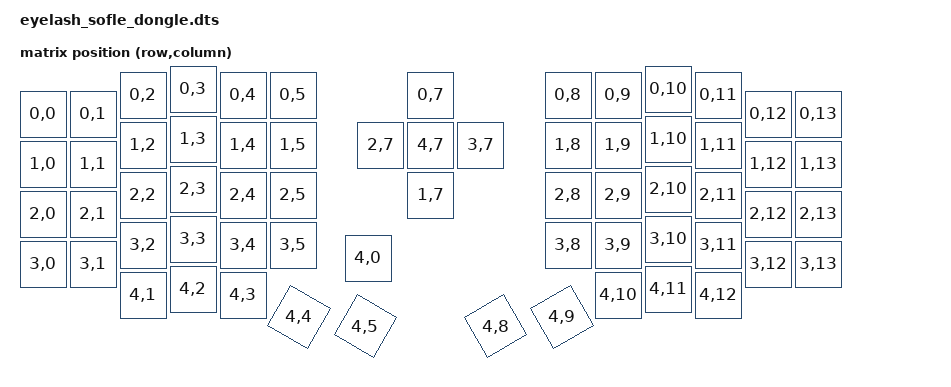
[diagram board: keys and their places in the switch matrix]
/*
*
* Copyright (c) 2021 Darryl deHaan
* SPDX-License-Identifier: MIT
*
*/

#include "eyelash_sofle.dtsi"

/{
    chosen {
        zmk,kscan = &mock_kscan;
    };
    mock_kscan: kscan_0 {
        compatible = "zmk,kscan-mock";
        columns = <0>;
        rows = <0>;
        events = <0>;
    };
default_transform: keymap_transform_0 {
        compatible = "zmk,matrix-transform";
        columns = <14>;
        rows = <5>;
        map = <
            RC(0,0) RC(0,1) RC(0,2) RC(0,3) RC(0,4) RC(0,5)  RC(0,7) RC(0,8) RC(0,9) RC(0,10) RC(0,11) RC(0,12) RC(0,13)
            RC(1,0) RC(1,1) RC(1,2) RC(1,3) RC(1,4) RC(1,5)  RC(1,7) RC(1,8) RC(1,9) RC(1,10) RC(1,11) RC(1,12) RC(1,13)
            RC(2,0) RC(2,1) RC(2,2) RC(2,3) RC(2,4) RC(2,5)  RC(2,7) RC(2,8) RC(2,9) RC(2,10) RC(2,11) RC(2,12) RC(2,13)
            RC(3,0) RC(3,1) RC(3,2) RC(3,3) RC(3,4) RC(3,5)  RC(3,7) RC(3,8) RC(3,9) RC(3,10) RC(3,11) RC(3,12) RC(3,13)
            RC(4,0) RC(4,1) RC(4,2) RC(4,3) RC(4,4) RC(4,5)  RC(4,7) RC(4,8) RC(4,9) RC(4,10) RC(4,11) RC(4,12)
        >;
    };
};

/ {
    chosen {
        zmk,kscan = &mock_kscan;
        zmk,physical-layout = &eyelash_sofle_layout;
    };

        eyelash_sofle_layout: eyelash_sofle_layout {
        compatible = "zmk,physical-layout";
        display-name = "Layout";
        transform = <&default_transform>;
        keys  //                     w   h    x    y     rot    rx    ry
            = <&key_physical_attrs 100 100    0   50       0     0     0>
            , <&key_physical_attrs 100 100  100   50       0     0     0>
            , <&key_physical_attrs 100 100  200   12       0     0     0>
            , <&key_physical_attrs 100 100  300    0       0     0     0>
            , <&key_physical_attrs 100 100  400   12       0     0     0>
            , <&key_physical_attrs 100 100  500   12       0     0     0>
            , <&key_physical_attrs 100 100  775   12       0     0     0>
            , <&key_physical_attrs 100 100 1050   12       0     0     0>
            , <&key_physical_attrs 100 100 1150   12       0     0     0>
            , <&key_physical_attrs 100 100 1250    0       0     0     0>
            , <&key_physical_attrs 100 100 1350   12       0     0     0>
            , <&key_physical_attrs 100 100 1450   50       0     0     0>
            , <&key_physical_attrs 100 100 1550   50       0     0     0>
            , <&key_physical_attrs 100 100    0  150       0     0     0>
            , <&key_physical_attrs 100 100  100  150       0     0     0>
            , <&key_physical_attrs 100 100  200  112       0     0     0>
            , <&key_physical_attrs 100 100  300  100       0     0     0>
            , <&key_physical_attrs 100 100  400  112       0     0     0>
            , <&key_physical_attrs 100 100  500  112       0     0     0>
            , <&key_physical_attrs 100 100  775  212       0     0     0>
            , <&key_physical_attrs 100 100 1050  112       0     0     0>
            , <&key_physical_attrs 100 100 1150  112       0     0     0>
            , <&key_physical_attrs 100 100 1250  100       0     0     0>
            , <&key_physical_attrs 100 100 1350  112       0     0     0>
            , <&key_physical_attrs 100 100 1450  150       0     0     0>
            , <&key_physical_attrs 100 100 1550  150       0     0     0>
            , <&key_physical_attrs 100 100    0  250       0     0     0>
            , <&key_physical_attrs 100 100  100  250       0     0     0>
            , <&key_physical_attrs 100 100  200  212       0     0     0>
            , <&key_physical_attrs 100 100  300  200       0     0     0>
            , <&key_physical_attrs 100 100  400  212       0     0     0>
            , <&key_physical_attrs 100 100  500  212       0     0     0>
            , <&key_physical_attrs 100 100  675  112       0     0     0>
            , <&key_physical_attrs 100 100 1050  212       0     0     0>
            , <&key_physical_attrs 100 100 1150  212       0     0     0>
            , <&key_physical_attrs 100 100 1250  200       0     0     0>
            , <&key_physical_attrs 100 100 1350  212       0     0     0>
            , <&key_physical_attrs 100 100 1450  250       0     0     0>
            , <&key_physical_attrs 100 100 1550  250       0     0     0>
            , <&key_physical_attrs 100 100    0  350       0     0     0>
            , <&key_physical_attrs 100 100  100  350       0     0     0>
            , <&key_physical_attrs 100 100  200  312       0     0     0>
            , <&key_physical_attrs 100 100  300  300       0     0     0>
            , <&key_physical_attrs 100 100  400  312       0     0     0>
            , <&key_physical_attrs 100 100  500  312       0     0     0>
            , <&key_physical_attrs 100 100  875  112       0     0     0>
            , <&key_physical_attrs 100 100 1050  312       0     0     0>
            , <&key_physical_attrs 100 100 1150  312       0     0     0>
            , <&key_physical_attrs 100 100 1250  300       0     0     0>
            , <&key_physical_attrs 100 100 1350  312       0     0     0>
            , <&key_physical_attrs 100 100 1450  350       0     0     0>
            , <&key_physical_attrs 100 100 1550  350       0     0     0>
            , <&key_physical_attrs 100 100  650  338       0     0     0>
            , <&key_physical_attrs 100 100  200  412       0     0     0>
            , <&key_physical_attrs 100 100  300  400       0     0     0>
            , <&key_physical_attrs 100 100  400  412       0     0     0>
            , <&key_physical_attrs 100 100  550  412    3000   500   412>
            , <&key_physical_attrs 100 100  675  362    3000   500   412>
            , <&key_physical_attrs 100 100  775  112       0     0     0>
            , <&key_physical_attrs 100 100  875  362 (-3000)  1150   412>
            , <&key_physical_attrs 100 100 1000  412 (-3000)  1150   412>
            , <&key_physical_attrs 100 100 1150  412       0     0     0>
            , <&key_physical_attrs 100 100 1250  400       0     0     0>
            , <&key_physical_attrs 100 100 1350  412       0     0     0>
            ;
    };
};
